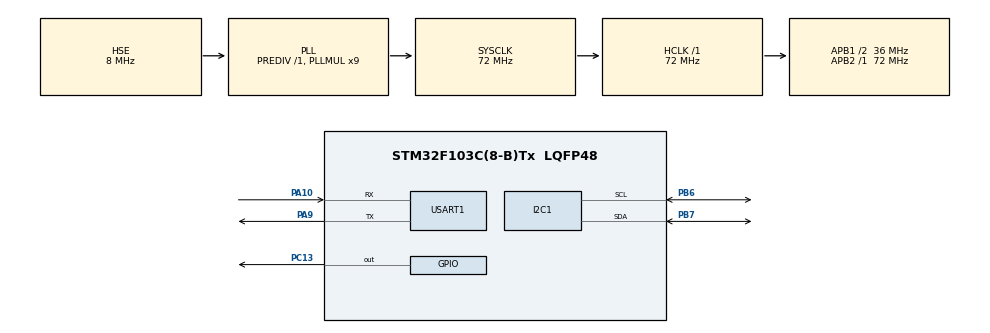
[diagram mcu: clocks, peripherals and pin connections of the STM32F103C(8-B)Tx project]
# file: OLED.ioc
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Dma.I2C1_RX.0.Direction=DMA_PERIPH_TO_MEMORY
Dma.I2C1_RX.0.Instance=DMA1_Channel7
Dma.I2C1_RX.0.MemDataAlignment=DMA_MDATAALIGN_BYTE
Dma.I2C1_RX.0.MemInc=DMA_MINC_ENABLE
Dma.I2C1_RX.0.Mode=DMA_NORMAL
Dma.I2C1_RX.0.PeriphDataAlignment=DMA_PDATAALIGN_BYTE
Dma.I2C1_RX.0.PeriphInc=DMA_PINC_DISABLE
Dma.I2C1_RX.0.Priority=DMA_PRIORITY_LOW
Dma.I2C1_TX.1.Direction=DMA_MEMORY_TO_PERIPH
Dma.I2C1_TX.1.Instance=DMA1_Channel6
Dma.I2C1_TX.1.MemDataAlignment=DMA_MDATAALIGN_BYTE
Dma.I2C1_TX.1.MemInc=DMA_MINC_ENABLE
Dma.I2C1_TX.1.Mode=DMA_NORMAL
Dma.I2C1_TX.1.PeriphDataAlignment=DMA_PDATAALIGN_BYTE
Dma.I2C1_TX.1.PeriphInc=DMA_PINC_DISABLE
Dma.I2C1_TX.1.Priority=DMA_PRIORITY_LOW
Dma.Request0=I2C1_RX
Dma.Request1=I2C1_TX
Mcu.Family=STM32F1
Mcu.Name=STM32F103C(8-B)Tx
Mcu.Package=LQFP48
NVIC.DMA1_Channel6_IRQn=true\:0\:0\:false\:false\:true\:false\:true\:true
NVIC.DMA1_Channel7_IRQn=true\:0\:0\:false\:false\:true\:false\:true\:true
NVIC.I2C1_ER_IRQn=true\:0\:0\:false\:false\:true\:true\:true\:true
NVIC.I2C1_EV_IRQn=true\:0\:0\:false\:false\:true\:true\:true\:true
NVIC.PriorityGroup=NVIC_PRIORITYGROUP_4
PA10.Mode=Asynchronous
PA10.Signal=USART1_RX
PA13.Mode=Serial_Wire
PA13.Signal=SYS_JTMS-SWDIO
PA14.Mode=Serial_Wire
PA14.Signal=SYS_JTCK-SWCLK
PA9.Mode=Asynchronous
PA9.Signal=USART1_TX
PB6.Mode=I2C
PB6.Signal=I2C1_SCL
PB7.Mode=I2C
PB7.Signal=I2C1_SDA
PC13-TAMPER-RTC.GPIO_PuPd=GPIO_PULLUP
PC13-TAMPER-RTC.PinState=GPIO_PIN_SET
PC13-TAMPER-RTC.Signal=GPIO_Output
PD0-OSC_IN.Mode=HSE-External-Oscillator
PD0-OSC_IN.Signal=RCC_OSC_IN
PD1-OSC_OUT.Mode=HSE-External-Oscillator
PD1-OSC_OUT.Signal=RCC_OSC_OUT
ProjectManager.HeapSize=0x200
ProjectManager.StackSize=0x400
ProjectManager.TargetToolchain=CMake
RCC.AHBFreq_Value=72000000
RCC.APB1CLKDivider=RCC_HCLK_DIV2
RCC.APB1Freq_Value=36000000
RCC.APB1TimFreq_Value=72000000
RCC.APB2Freq_Value=72000000
RCC.APB2TimFreq_Value=72000000
RCC.EnbaleCSS=true
RCC.HCLKFreq_Value=72000000
RCC.PLLMUL=RCC_PLL_MUL9
RCC.PLLSourceVirtual=RCC_PLLSOURCE_HSE
RCC.SYSCLKFreq_VALUE=72000000
RCC.SYSCLKSource=RCC_SYSCLKSOURCE_PLLCLK
RCC.USBFreq_Value=72000000
USART1.VirtualMode=VM_ASYNC
board=custom

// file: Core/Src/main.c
/* USER CODE BEGIN Header */
/**
  ******************************************************************************
  * @file           : main.c
  * @brief          : Main program body
  ******************************************************************************
  * @attention
  *
  * Copyright (c) 2026 STMicroelectronics.
  * All rights reserved.
  *
  * This software is licensed under terms that can be found in the LICENSE file
  * in the root directory of this software component.
  * If no LICENSE file comes with this software, it is provided AS-IS.
  *
  ******************************************************************************
  */
/* USER CODE END Header */
#include "main.h"

/* USER CODE BEGIN Includes */
#include "oled.h"
#include "bmp.h"
#include "mpu6050.h"
//商家提供的库！！！望周知
/* USER CODE END Includes */

I2C_HandleTypeDef hi2c1;
DMA_HandleTypeDef hdma_i2c1_rx;
DMA_HandleTypeDef hdma_i2c1_tx;

UART_HandleTypeDef huart1;

void SystemClock_Config(void);
static void MX_GPIO_Init(void);
static void MX_DMA_Init(void);
static void MX_I2C1_Init(void);
static void MX_USART1_UART_Init(void);
/* USER CODE BEGIN PFP */
static void OLED_ShowSigned(uint8_t x, uint8_t y, int32_t v, uint8_t len);
/* USER CODE END PFP */

int main(void)
{

  /* MCU Configuration--------------------------------------------------------*/

  /* Reset of all peripherals, Initializes the Flash interface and the Systick. */
  HAL_Init();

  /* Configure the system clock */
  SystemClock_Config();

  /* Initialize all configured peripherals */
  MX_GPIO_Init();
  MX_DMA_Init();
  MX_I2C1_Init();
  MX_USART1_UART_Init();
  /* USER CODE BEGIN 2 */
  OLED_Init();
  OLED_Clear();

  /* 开机图（1.5 秒），保留任务 4.1 的显示效果 */
  OLED_DrawBMP(0, 0, 128, 8, BMP1);
  HAL_Delay(1500);
  OLED_Clear();

  /* 初始化 MPU6050（没接也不会卡死，只是 g_mpu_ok = 0） */
  MPU6050_Initialization();

  /* 标签：左半屏加速度，右半屏角速度 */
  OLED_ShowString(0,  0, "AX", 16);
  OLED_ShowString(0,  2, "AY", 16);
  OLED_ShowString(0,  4, "AZ", 16);
  OLED_ShowString(64, 0, "GX", 16);
  OLED_ShowString(64, 2, "GY", 16);
  OLED_ShowString(64, 4, "GZ", 16);

  if (!g_mpu_ok)
  {
      OLED_ShowString(0, 6, "NO MPU6050", 16);
  }

  /* USER CODE END 2 */

  /* Infinite loop */
  while (1)
  {

    /* USER CODE BEGIN 3 */
    static uint32_t last_read = 0;
    static uint32_t last_try  = 0;

    if (!g_mpu_ok)
    {
        /* 没接设备：每 1 秒重试一次 */
        if (HAL_GetTick() - last_try >= 1000)
        {
            last_try = HAL_GetTick();
            MPU6050_Initialization();
            OLED_ShowString(0, 6, g_mpu_ok ? "MPU OK    " : "NO MPU6050", 16);
        }
    }
    else if (HAL_GetTick() - last_read >= 200)
    {
        /* 每 200ms 读一次并刷新 */
        last_read = HAL_GetTick();

        MPU6050_ProcessData(&g_mpu);

        /* 加速度：单位 0.01g（1.00g -> 100） */
        OLED_ShowSigned(16, 0, (int32_t)(g_mpu.acc_x * 100), 3);
        OLED_ShowSigned(16, 2, (int32_t)(g_mpu.acc_y * 100), 3);
        OLED_ShowSigned(16, 4, (int32_t)(g_mpu.acc_z * 100), 3);

        /* 角速度：整数 °/s */
        OLED_ShowSigned(80, 0, (int32_t)g_mpu.gyro_x, 4);
        OLED_ShowSigned(80, 2, (int32_t)g_mpu.gyro_y, 4);
        OLED_ShowSigned(80, 4, (int32_t)g_mpu.gyro_z, 4);
    }
    /* USER CODE END 3 */
  }
}

void SystemClock_Config(void)
{
  RCC_OscInitTypeDef RCC_OscInitStruct = {0};
  RCC_ClkInitTypeDef RCC_ClkInitStruct = {0};

  /** Initializes the RCC Oscillators according to the specified parameters
  * in the RCC_OscInitTypeDef structure.
  */
  RCC_OscInitStruct.OscillatorType = RCC_OSCILLATORTYPE_HSE;
  RCC_OscInitStruct.HSEState = RCC_HSE_ON;
  RCC_OscInitStruct.HSEPredivValue = RCC_HSE_PREDIV_DIV1;
  RCC_OscInitStruct.HSIState = RCC_HSI_ON;
  RCC_OscInitStruct.PLL.PLLState = RCC_PLL_ON;
  RCC_OscInitStruct.PLL.PLLSource = RCC_PLLSOURCE_HSE;
  RCC_OscInitStruct.PLL.PLLMUL = RCC_PLL_MUL9;
  if (HAL_RCC_OscConfig(&RCC_OscInitStruct) != HAL_OK)
  {
    Error_Handler();
  }

  /** Initializes the CPU, AHB and APB buses clocks
  */
  RCC_ClkInitStruct.ClockType = RCC_CLOCKTYPE_HCLK|RCC_CLOCKTYPE_SYSCLK
                              |RCC_CLOCKTYPE_PCLK1|RCC_CLOCKTYPE_PCLK2;
  RCC_ClkInitStruct.SYSCLKSource = RCC_SYSCLKSOURCE_PLLCLK;
  RCC_ClkInitStruct.AHBCLKDivider = RCC_SYSCLK_DIV1;
  RCC_ClkInitStruct.APB1CLKDivider = RCC_HCLK_DIV2;
  RCC_ClkInitStruct.APB2CLKDivider = RCC_HCLK_DIV1;

  if (HAL_RCC_ClockConfig(&RCC_ClkInitStruct, FLASH_LATENCY_2) != HAL_OK)
  {
    Error_Handler();
  }

  /** Enables the Clock Security System
  */
  HAL_RCC_EnableCSS();
}

static void MX_I2C1_Init(void)
{

  hi2c1.Instance = I2C1;
  hi2c1.Init.ClockSpeed = 100000;
  hi2c1.Init.DutyCycle = I2C_DUTYCYCLE_2;
  hi2c1.Init.OwnAddress1 = 0;
  hi2c1.Init.AddressingMode = I2C_ADDRESSINGMODE_7BIT;
  hi2c1.Init.DualAddressMode = I2C_DUALADDRESS_DISABLE;
  hi2c1.Init.OwnAddress2 = 0;
  hi2c1.Init.GeneralCallMode = I2C_GENERALCALL_DISABLE;
  hi2c1.Init.NoStretchMode = I2C_NOSTRETCH_DISABLE;
  if (HAL_I2C_Init(&hi2c1) != HAL_OK)
  {
    Error_Handler();
  }

}

static void MX_USART1_UART_Init(void)
{

  huart1.Instance = USART1;
  huart1.Init.BaudRate = 115200;
  huart1.Init.WordLength = UART_WORDLENGTH_8B;
  huart1.Init.StopBits = UART_STOPBITS_1;
  huart1.Init.Parity = UART_PARITY_NONE;
  huart1.Init.Mode = UART_MODE_TX_RX;
  huart1.Init.HwFlowCtl = UART_HWCONTROL_NONE;
  huart1.Init.OverSampling = UART_OVERSAMPLING_16;
  if (HAL_UART_Init(&huart1) != HAL_OK)
  {
    Error_Handler();
  }

}

static void MX_DMA_Init(void)
{

  /* DMA controller clock enable */
  __HAL_RCC_DMA1_CLK_ENABLE();

  /* DMA interrupt init */
  /* DMA1_Channel6_IRQn interrupt configuration */
  HAL_NVIC_SetPriority(DMA1_Channel6_IRQn, 0, 0);
  HAL_NVIC_EnableIRQ(DMA1_Channel6_IRQn);
  /* DMA1_Channel7_IRQn interrupt configuration */
  HAL_NVIC_SetPriority(DMA1_Channel7_IRQn, 0, 0);
  HAL_NVIC_EnableIRQ(DMA1_Channel7_IRQn);

}

static void MX_GPIO_Init(void)
{
  GPIO_InitTypeDef GPIO_InitStruct = {0};

  /* GPIO Ports Clock Enable */
  __HAL_RCC_GPIOC_CLK_ENABLE();
  __HAL_RCC_GPIOD_CLK_ENABLE();
  __HAL_RCC_GPIOA_CLK_ENABLE();
  __HAL_RCC_GPIOB_CLK_ENABLE();

  /*Configure GPIO pin Output Level */
  HAL_GPIO_WritePin(GPIOC, GPIO_PIN_13, GPIO_PIN_SET);

  /*Configure GPIO pin : PC13 */
  GPIO_InitStruct.Pin = GPIO_PIN_13;
  GPIO_InitStruct.Mode = GPIO_MODE_OUTPUT_PP;
  GPIO_InitStruct.Pull = GPIO_PULLUP;
  GPIO_InitStruct.Speed = GPIO_SPEED_FREQ_LOW;
  HAL_GPIO_Init(GPIOC, &GPIO_InitStruct);

}

/* USER CODE BEGIN 4 */

/* 显示有符号整数（OLED_ShowNum 不支持负数） */
static void OLED_ShowSigned(uint8_t x, uint8_t y, int32_t v, uint8_t len)
{
    if (v < 0)
    {
        OLED_ShowChar(x, y, '-', 16);
        OLED_ShowNum(x + 8, y, (uint32_t)(-v), len, 16);
    }
    else
    {
        OLED_ShowChar(x, y, ' ', 16);
        OLED_ShowNum(x + 8, y, (uint32_t)v, len, 16);
    }
}

/* USER CODE END 4 */

void Error_Handler(void)
{
  __disable_irq();
  while (1)
  {
  }
}
